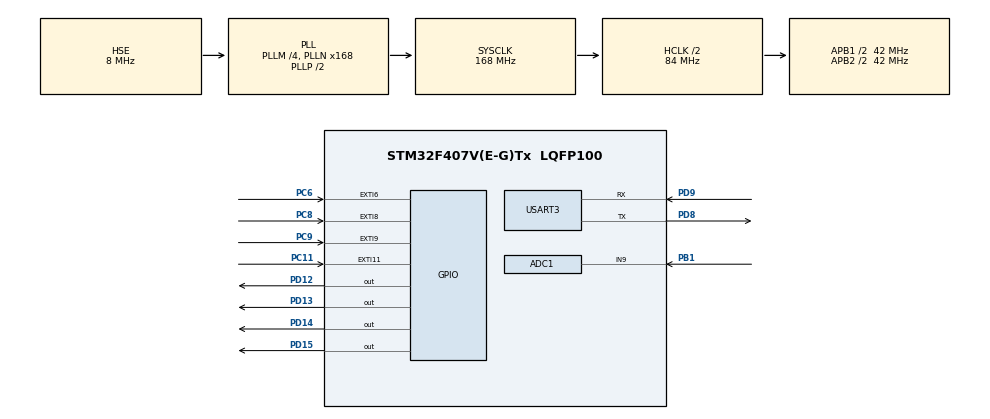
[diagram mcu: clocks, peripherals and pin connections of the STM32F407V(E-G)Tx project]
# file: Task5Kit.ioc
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ADC1.Channel-0\#ChannelRegularConversion=ADC_CHANNEL_9
ADC1.ClockPrescaler=ADC_CLOCK_SYNC_PCLK_DIV8
ADC1.ContinuousConvMode=DISABLE
ADC1.DMAContinuousRequests=ENABLE
ADC1.ExternalTrigConv=ADC_EXTERNALTRIGCONV_T2_TRGO
ADC1.NbrOfConversionFlag=1
ADC1.Rank-0\#ChannelRegularConversion=1
ADC1.SamplingTime-0\#ChannelRegularConversion=ADC_SAMPLETIME_480CYCLES
ADC1.ScanConvMode=ENABLE
ADC1.master=1
Dma.ADC1.0.Direction=DMA_PERIPH_TO_MEMORY
Dma.ADC1.0.FIFOMode=DMA_FIFOMODE_DISABLE
Dma.ADC1.0.Instance=DMA2_Stream0
Dma.ADC1.0.MemDataAlignment=DMA_MDATAALIGN_HALFWORD
Dma.ADC1.0.MemInc=DMA_MINC_ENABLE
Dma.ADC1.0.Mode=DMA_CIRCULAR
Dma.ADC1.0.PeriphDataAlignment=DMA_PDATAALIGN_HALFWORD
Dma.ADC1.0.PeriphInc=DMA_PINC_DISABLE
Dma.ADC1.0.Priority=DMA_PRIORITY_LOW
Dma.Request0=ADC1
Mcu.Family=STM32F4
Mcu.Name=STM32F407V(E-G)Tx
Mcu.Package=LQFP100
NVIC.DMA2_Stream0_IRQn=true\:0\:0\:false\:false\:true\:false\:true\:true
NVIC.EXTI15_10_IRQn=true\:0\:0\:false\:false\:true\:true\:true\:true
NVIC.EXTI9_5_IRQn=true\:0\:0\:false\:false\:true\:true\:true\:true
NVIC.PriorityGroup=NVIC_PRIORITYGROUP_4
NVIC.TIM3_IRQn=true\:0\:0\:false\:false\:true\:true\:true\:true
NVIC.USART3_IRQn=true\:0\:0\:false\:false\:true\:true\:true\:true
PB1.Signal=ADCx_IN9
PC11.GPIO_ModeDefaultEXTI=GPIO_MODE_IT_FALLING
PC11.GPIO_PuPd=GPIO_NOPULL
PC11.Signal=GPXTI11
PC6.GPIO_ModeDefaultEXTI=GPIO_MODE_IT_FALLING
PC6.Signal=GPXTI6
PC8.GPIO_ModeDefaultEXTI=GPIO_MODE_IT_FALLING
PC8.Signal=GPXTI8
PC9.GPIO_ModeDefaultEXTI=GPIO_MODE_IT_FALLING
PC9.Signal=GPXTI9
PD12.Signal=GPIO_Output
PD13.Signal=GPIO_Output
PD14.Signal=GPIO_Output
PD15.Signal=GPIO_Output
PD8.Mode=Asynchronous
PD8.Signal=USART3_TX
PD9.Mode=Asynchronous
PD9.Signal=USART3_RX
PH0-OSC_IN.Mode=HSE-External-Oscillator
PH0-OSC_IN.Signal=RCC_OSC_IN
PH1-OSC_OUT.Mode=HSE-External-Oscillator
PH1-OSC_OUT.Signal=RCC_OSC_OUT
ProjectManager.HeapSize=0x200
ProjectManager.StackSize=0x400
ProjectManager.TargetToolchain=STM32CubeIDE
RCC.48MHZClocksFreq_Value=84000000
RCC.AHBCLKDivider=RCC_SYSCLK_DIV2
RCC.AHBFreq_Value=84000000
RCC.APB1CLKDivider=RCC_HCLK_DIV2
RCC.APB1Freq_Value=42000000
RCC.APB1TimFreq_Value=84000000
RCC.APB2CLKDivider=RCC_HCLK_DIV2
RCC.APB2Freq_Value=42000000
RCC.APB2TimFreq_Value=84000000
RCC.CortexFreq_Value=84000000
RCC.HCLKFreq_Value=84000000
RCC.HSE_VALUE=8000000
RCC.HSI_VALUE=16000000
RCC.LSE_VALUE=32768
RCC.PLLM=4
RCC.PLLN=168
RCC.PLLSourceVirtual=RCC_PLLSOURCE_HSE
RCC.SYSCLKFreq_VALUE=168000000
RCC.SYSCLKSource=RCC_SYSCLKSOURCE_PLLCLK
RCC.VCOOutputFreq_Value=336000000
SH.ADCx_IN9.0=ADC1_IN9,IN9
TIM2.Period=100
TIM2.Prescaler=42000
TIM2.TIM_MasterOutputTrigger=TIM_TRGO_UPDATE
TIM3.AutoReloadPreload=TIM_AUTORELOAD_PRELOAD_ENABLE
TIM3.Period=5000
TIM3.Prescaler=42000
USART3.VirtualMode=VM_ASYNC
VP_TIM2_VS_ClockSourceINT.Mode=Internal
VP_TIM3_VS_ClockSourceINT.Mode=Internal
board=custom

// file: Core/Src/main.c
/* USER CODE BEGIN Header */
/**
  ******************************************************************************
  * @file           : main.c
  * @brief          : Main program body
  ******************************************************************************
  * @attention
  *
  * Copyright (c) 2023 STMicroelectronics.
  * All rights reserved.
  *
  * This software is licensed under terms that can be found in the LICENSE file
  * in the root directory of this software component.
  * If no LICENSE file comes with this software, it is provided AS-IS.
  *
  ******************************************************************************
  */
/* USER CODE END Header */
#include "main.h"

/* USER CODE BEGIN Includes */
#include "string.h"
/* USER CODE END Includes */

ADC_HandleTypeDef hadc1;
DMA_HandleTypeDef hdma_adc1;

TIM_HandleTypeDef htim2;
TIM_HandleTypeDef htim3;

UART_HandleTypeDef huart3;

/* USER CODE BEGIN PV */
static uint8_t tempTransmit[2];
/* USER CODE END PV */

void SystemClock_Config(void);
static void MX_GPIO_Init(void);
static void MX_DMA_Init(void);
static void MX_USART3_UART_Init(void);
static void MX_ADC1_Init(void);
static void MX_TIM3_Init(void);
static void MX_TIM2_Init(void);

/* USER CODE BEGIN 0 */
uint16_t adcResult[1];
uint8_t *getTemp(void)
{
	return tempTransmit;
}
/* USER CODE END 0 */

int main(void)
{
  /* USER CODE BEGIN 1 */
	const char * Green_ON ="Green ON\r\n";
	const char * Green_OFF ="Green OFF\r\n";
	const char * Orange_ON = "Orange ON\r\n";
	const char * Orange_OFF = "Orange OFF\r\n";
	const char * Red_ON = "Red ON\r\n";
	const char * Red_OFF = "Red OFF\r\n";
	const char * Blue_ON = "Blue ON\r\n";
	const char * Blue_OFF = "Blue OFF\r\n";
  /* USER CODE END 1 */

  /* MCU Configuration--------------------------------------------------------*/

  /* Reset of all peripherals, Initializes the Flash interface and the Systick. */
  HAL_Init();

  /* Configure the system clock */
  SystemClock_Config();

  /* Initialize all configured peripherals */
  MX_GPIO_Init();
  MX_DMA_Init();
  MX_USART3_UART_Init();
  MX_ADC1_Init();
  MX_TIM3_Init();
  MX_TIM2_Init();

  /* Infinite loop */
  /* USER CODE BEGIN WHILE */
  HAL_TIM_Base_Start_IT(&htim2);
  HAL_TIM_Base_Start_IT(&htim3);
  HAL_ADC_Start_DMA(&hadc1,(uint32_t*)adcResult,1);
  while (1)
  {
	  uint32_t tempValue = 0;
	  tempValue = 100 - 50*(((3.3 * adcResult[0])/4096)-0.02);
	  tempTransmit[0] = 48 + (tempValue / 10);
	  tempTransmit[1] = 48 + (tempValue % 10);
	  uint8_t Buf[1];
	  HAL_StatusTypeDef result;
	  result = HAL_UART_Receive(&huart3, Buf, 1, 10);
	  if (result == HAL_OK)
	  {
		  switch (Buf[0])
		  {
		  	  case '0':
		  		  HAL_GPIO_TogglePin(GPIOD, GPIO_PIN_12);
		  		  if (HAL_GPIO_ReadPin(GPIOD, GPIO_PIN_12))
		  		  {
		  			  HAL_UART_Transmit(&huart3, (uint8_t *)Green_ON, strlen(Green_ON), 10);
		  		  }
		  		  else
		  		  {
		  			  HAL_UART_Transmit(&huart3, (uint8_t *)Green_OFF, strlen(Green_OFF), 10);
		  		  }
		  		  break;
		  	  case '1':
		  		  HAL_GPIO_TogglePin(GPIOD, GPIO_PIN_13);
		  		  if (HAL_GPIO_ReadPin(GPIOD, GPIO_PIN_13))
		  		  {
		  			  HAL_UART_Transmit(&huart3, (uint8_t *)Orange_ON, strlen(Orange_ON), 10);
		  		  }
		  		  else
		  		  {
		  			  HAL_UART_Transmit(&huart3, (uint8_t *)Orange_OFF, strlen(Orange_OFF), 10);
		  		  }
		  		  break;
		  	  case '2':
		  		  HAL_GPIO_TogglePin(GPIOD, GPIO_PIN_14);
		  		  if (HAL_GPIO_ReadPin(GPIOD, GPIO_PIN_14))
		  		  {
		  			  HAL_UART_Transmit(&huart3, (uint8_t *)Red_ON,strlen(Red_ON), 10);
		  		  }
		  		  else
		  		  {
		  			  HAL_UART_Transmit(&huart3, (uint8_t *)Red_OFF, strlen(Red_OFF), 10);
		  		  }
		  		  break;
		  	  case '3':
		  		  HAL_GPIO_TogglePin(GPIOD, GPIO_PIN_15);
		  		  if (HAL_GPIO_ReadPin(GPIOD, GPIO_PIN_15))
		  		  {
		  			  HAL_UART_Transmit(&huart3, (uint8_t *)Blue_ON,strlen(Blue_ON), 10);
		  		  }
		  		  else
		  		  {
		  			  HAL_UART_Transmit(&huart3, (uint8_t *)Blue_OFF,strlen(Blue_OFF), 10);
		  		  }
		  		  break;
		  	  default:
		  		  	  HAL_UART_Transmit(&huart3, (uint8_t *)"UnexpCmd\r\n", 8, 10);
		  		  break;
		  }
	  }
    /* USER CODE END WHILE */

  }
}

void SystemClock_Config(void)
{
  RCC_OscInitTypeDef RCC_OscInitStruct = {0};
  RCC_ClkInitTypeDef RCC_ClkInitStruct = {0};

  /** Configure the main internal regulator output voltage
  */
  __HAL_RCC_PWR_CLK_ENABLE();
  __HAL_PWR_VOLTAGESCALING_CONFIG(PWR_REGULATOR_VOLTAGE_SCALE1);

  /** Initializes the RCC Oscillators according to the specified parameters
  * in the RCC_OscInitTypeDef structure.
  */
  RCC_OscInitStruct.OscillatorType = RCC_OSCILLATORTYPE_HSE;
  RCC_OscInitStruct.HSEState = RCC_HSE_ON;
  RCC_OscInitStruct.PLL.PLLState = RCC_PLL_ON;
  RCC_OscInitStruct.PLL.PLLSource = RCC_PLLSOURCE_HSE;
  RCC_OscInitStruct.PLL.PLLM = 4;
  RCC_OscInitStruct.PLL.PLLN = 168;
  RCC_OscInitStruct.PLL.PLLP = RCC_PLLP_DIV2;
  RCC_OscInitStruct.PLL.PLLQ = 4;
  if (HAL_RCC_OscConfig(&RCC_OscInitStruct) != HAL_OK)
  {
    Error_Handler();
  }

  /** Initializes the CPU, AHB and APB buses clocks
  */
  RCC_ClkInitStruct.ClockType = RCC_CLOCKTYPE_HCLK|RCC_CLOCKTYPE_SYSCLK
                              |RCC_CLOCKTYPE_PCLK1|RCC_CLOCKTYPE_PCLK2;
  RCC_ClkInitStruct.SYSCLKSource = RCC_SYSCLKSOURCE_PLLCLK;
  RCC_ClkInitStruct.AHBCLKDivider = RCC_SYSCLK_DIV2;
  RCC_ClkInitStruct.APB1CLKDivider = RCC_HCLK_DIV2;
  RCC_ClkInitStruct.APB2CLKDivider = RCC_HCLK_DIV2;

  if (HAL_RCC_ClockConfig(&RCC_ClkInitStruct, FLASH_LATENCY_2) != HAL_OK)
  {
    Error_Handler();
  }
}

static void MX_ADC1_Init(void)
{

  ADC_ChannelConfTypeDef sConfig = {0};

  /** Configure the global features of the ADC (Clock, Resolution, Data Alignment and number of conversion)
  */
  hadc1.Instance = ADC1;
  hadc1.Init.ClockPrescaler = ADC_CLOCK_SYNC_PCLK_DIV8;
  hadc1.Init.Resolution = ADC_RESOLUTION_12B;
  hadc1.Init.ScanConvMode = ENABLE;
  hadc1.Init.ContinuousConvMode = DISABLE;
  hadc1.Init.DiscontinuousConvMode = DISABLE;
  hadc1.Init.ExternalTrigConvEdge = ADC_EXTERNALTRIGCONVEDGE_RISING;
  hadc1.Init.ExternalTrigConv = ADC_EXTERNALTRIGCONV_T2_TRGO;
  hadc1.Init.DataAlign = ADC_DATAALIGN_RIGHT;
  hadc1.Init.NbrOfConversion = 1;
  hadc1.Init.DMAContinuousRequests = ENABLE;
  hadc1.Init.EOCSelection = ADC_EOC_SINGLE_CONV;
  if (HAL_ADC_Init(&hadc1) != HAL_OK)
  {
    Error_Handler();
  }

  /** Configure for the selected ADC regular channel its corresponding rank in the sequencer and its sample time.
  */
  sConfig.Channel = ADC_CHANNEL_9;
  sConfig.Rank = 1;
  sConfig.SamplingTime = ADC_SAMPLETIME_480CYCLES;
  if (HAL_ADC_ConfigChannel(&hadc1, &sConfig) != HAL_OK)
  {
    Error_Handler();
  }

}

static void MX_TIM2_Init(void)
{

  TIM_ClockConfigTypeDef sClockSourceConfig = {0};
  TIM_MasterConfigTypeDef sMasterConfig = {0};

  htim2.Instance = TIM2;
  htim2.Init.Prescaler = 42000;
  htim2.Init.CounterMode = TIM_COUNTERMODE_UP;
  htim2.Init.Period = 100;
  htim2.Init.ClockDivision = TIM_CLOCKDIVISION_DIV1;
  htim2.Init.AutoReloadPreload = TIM_AUTORELOAD_PRELOAD_DISABLE;
  if (HAL_TIM_Base_Init(&htim2) != HAL_OK)
  {
    Error_Handler();
  }
  sClockSourceConfig.ClockSource = TIM_CLOCKSOURCE_INTERNAL;
  if (HAL_TIM_ConfigClockSource(&htim2, &sClockSourceConfig) != HAL_OK)
  {
    Error_Handler();
  }
  sMasterConfig.MasterOutputTrigger = TIM_TRGO_UPDATE;
  sMasterConfig.MasterSlaveMode = TIM_MASTERSLAVEMODE_DISABLE;
  if (HAL_TIMEx_MasterConfigSynchronization(&htim2, &sMasterConfig) != HAL_OK)
  {
    Error_Handler();
  }

}

static void MX_TIM3_Init(void)
{

  TIM_ClockConfigTypeDef sClockSourceConfig = {0};
  TIM_MasterConfigTypeDef sMasterConfig = {0};

  htim3.Instance = TIM3;
  htim3.Init.Prescaler = 42000;
  htim3.Init.CounterMode = TIM_COUNTERMODE_UP;
  htim3.Init.Period = 5000;
  htim3.Init.ClockDivision = TIM_CLOCKDIVISION_DIV1;
  htim3.Init.AutoReloadPreload = TIM_AUTORELOAD_PRELOAD_ENABLE;
  if (HAL_TIM_Base_Init(&htim3) != HAL_OK)
  {
    Error_Handler();
  }
  sClockSourceConfig.ClockSource = TIM_CLOCKSOURCE_INTERNAL;
  if (HAL_TIM_ConfigClockSource(&htim3, &sClockSourceConfig) != HAL_OK)
  {
    Error_Handler();
  }
  sMasterConfig.MasterOutputTrigger = TIM_TRGO_RESET;
  sMasterConfig.MasterSlaveMode = TIM_MASTERSLAVEMODE_DISABLE;
  if (HAL_TIMEx_MasterConfigSynchronization(&htim3, &sMasterConfig) != HAL_OK)
  {
    Error_Handler();
  }

}

static void MX_USART3_UART_Init(void)
{

  huart3.Instance = USART3;
  huart3.Init.BaudRate = 115200;
  huart3.Init.WordLength = UART_WORDLENGTH_8B;
  huart3.Init.StopBits = UART_STOPBITS_1;
  huart3.Init.Parity = UART_PARITY_NONE;
  huart3.Init.Mode = UART_MODE_TX_RX;
  huart3.Init.HwFlowCtl = UART_HWCONTROL_NONE;
  huart3.Init.OverSampling = UART_OVERSAMPLING_16;
  if (HAL_UART_Init(&huart3) != HAL_OK)
  {
    Error_Handler();
  }

}

static void MX_DMA_Init(void)
{

  /* DMA controller clock enable */
  __HAL_RCC_DMA2_CLK_ENABLE();

  /* DMA interrupt init */
  /* DMA2_Stream0_IRQn interrupt configuration */
  HAL_NVIC_SetPriority(DMA2_Stream0_IRQn, 0, 0);
  HAL_NVIC_EnableIRQ(DMA2_Stream0_IRQn);

}

static void MX_GPIO_Init(void)
{
  GPIO_InitTypeDef GPIO_InitStruct = {0};

  /* GPIO Ports Clock Enable */
  __HAL_RCC_GPIOH_CLK_ENABLE();
  __HAL_RCC_GPIOB_CLK_ENABLE();
  __HAL_RCC_GPIOD_CLK_ENABLE();
  __HAL_RCC_GPIOC_CLK_ENABLE();

  /*Configure GPIO pin Output Level */
  HAL_GPIO_WritePin(GPIOD, GPIO_PIN_12|GPIO_PIN_13|GPIO_PIN_14|GPIO_PIN_15, GPIO_PIN_RESET);

  /*Configure GPIO pins : PD12 PD13 PD14 PD15 */
  GPIO_InitStruct.Pin = GPIO_PIN_12|GPIO_PIN_13|GPIO_PIN_14|GPIO_PIN_15;
  GPIO_InitStruct.Mode = GPIO_MODE_OUTPUT_PP;
  GPIO_InitStruct.Pull = GPIO_NOPULL;
  GPIO_InitStruct.Speed = GPIO_SPEED_FREQ_LOW;
  HAL_GPIO_Init(GPIOD, &GPIO_InitStruct);

  /*Configure GPIO pins : PC6 PC8 PC9 PC11 */
  GPIO_InitStruct.Pin = GPIO_PIN_6|GPIO_PIN_8|GPIO_PIN_9|GPIO_PIN_11;
  GPIO_InitStruct.Mode = GPIO_MODE_IT_FALLING;
  GPIO_InitStruct.Pull = GPIO_NOPULL;
  HAL_GPIO_Init(GPIOC, &GPIO_InitStruct);

  /* EXTI interrupt init*/
  HAL_NVIC_SetPriority(EXTI9_5_IRQn, 0, 0);
  HAL_NVIC_EnableIRQ(EXTI9_5_IRQn);

  HAL_NVIC_SetPriority(EXTI15_10_IRQn, 0, 0);
  HAL_NVIC_EnableIRQ(EXTI15_10_IRQn);

}

void Error_Handler(void)
{
  __disable_irq();
  while (1)
  {
  }
}
